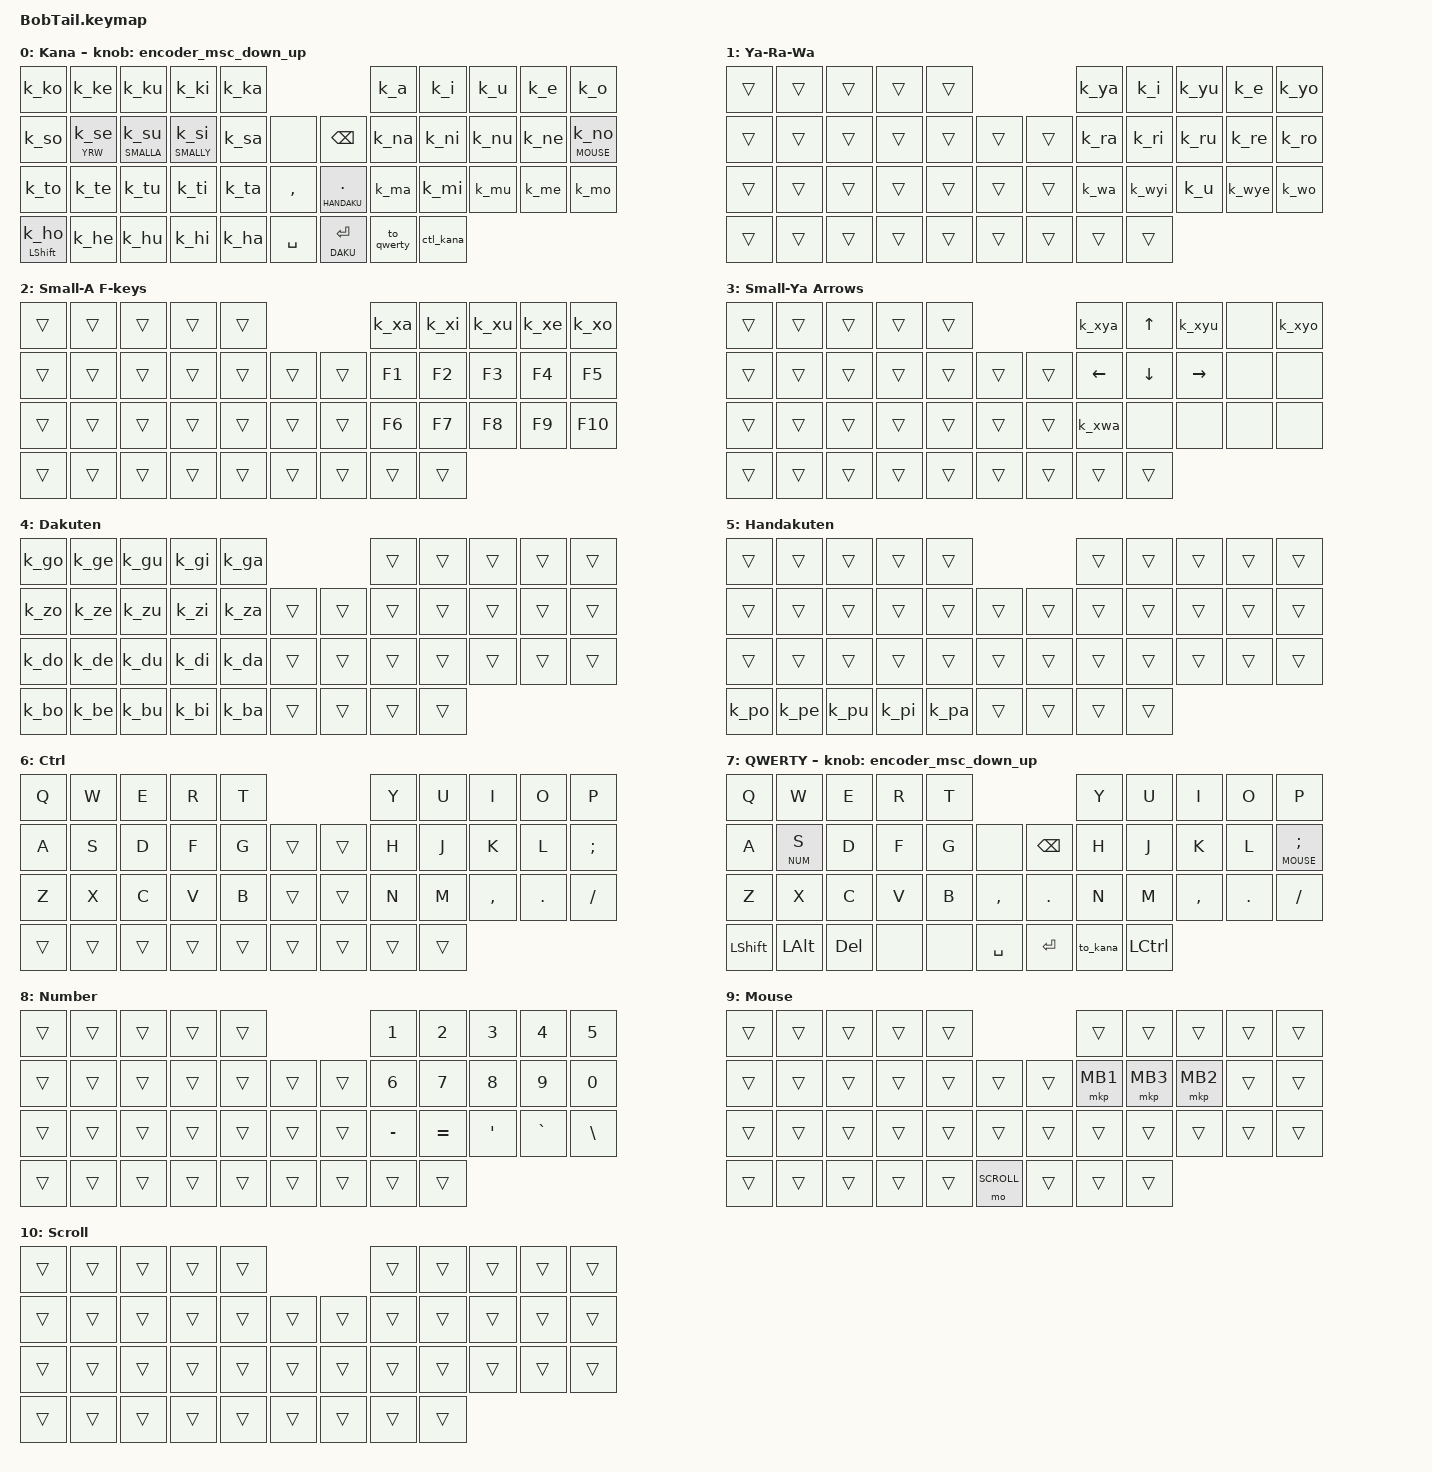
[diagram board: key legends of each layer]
/*
 * BobTail / BobTail ESC  五十音かな配列
 * 1層目: 左手に か・さ・た・は行、右手に あ・な・ま行(人差し指→小指外側)
 * かなキーは IME(ローマ字入力)にローマ字を送るマクロです。
 * 設計の経緯は claude.ai での相談(2026-11-02)によります。
 */

#include <behaviors.dtsi>
#include <dt-bindings/zmk/bt.h>
#include <dt-bindings/zmk/keys.h>
#include <dt-bindings/zmk/pointing.h>

#define KANA 0
#define YRW 1
#define SMALLA 2
#define SMALLY 3
#define DAKU 4
#define HANDAKU 5
#define KCTRL 6
#define QWERTY 7
#define NUM 8
#define MOUSE 9
#define SCROLL 10

#define LEFT_KEYS 0 1 2 3 4 10 11 12 13 14 15 22 23 24 25 26 27 34 35 36 37 38 39
#define RIGHT_KEYS 5 6 7 8 9 16 17 18 19 20 21 28 29 30 31 32 33 40 41 42

/ {
    behaviors {
        encoder_msc_down_up: encoder_msc_down_up {
            compatible = "zmk,behavior-sensor-rotate";
            #sensor-binding-cells = <0>;
            bindings = <&msc SCRL_UP>, <&msc SCRL_DOWN>;
            tap-ms = <20>;
        };

        /* 左手の長押しキー(せ・す・し): 押している間、右手が別の層になる */
        ht_se: ht_se {
            compatible = "zmk,behavior-hold-tap";
            #binding-cells = <2>;
            flavor = "balanced";
            tapping-term-ms = <200>;
            quick-tap-ms = <150>;
            require-prior-idle-ms = <150>;
            hold-trigger-key-positions = <RIGHT_KEYS>;
            hold-trigger-on-release;
            bindings = <&mo>, <&k_se>;
        };
        ht_su: ht_su {
            compatible = "zmk,behavior-hold-tap";
            #binding-cells = <2>;
            flavor = "balanced";
            tapping-term-ms = <200>;
            quick-tap-ms = <150>;
            require-prior-idle-ms = <150>;
            hold-trigger-key-positions = <RIGHT_KEYS>;
            hold-trigger-on-release;
            bindings = <&mo>, <&k_su>;
        };
        ht_si: ht_si {
            compatible = "zmk,behavior-hold-tap";
            #binding-cells = <2>;
            flavor = "balanced";
            tapping-term-ms = <200>;
            quick-tap-ms = <150>;
            require-prior-idle-ms = <150>;
            hold-trigger-key-positions = <RIGHT_KEYS>;
            hold-trigger-on-release;
            bindings = <&mo>, <&k_si>;
        };

        /* ほ: 長押しで Shift */
        ht_ho: ht_ho {
            compatible = "zmk,behavior-hold-tap";
            #binding-cells = <2>;
            flavor = "balanced";
            tapping-term-ms = <200>;
            quick-tap-ms = <150>;
            require-prior-idle-ms = <150>;
            hold-trigger-key-positions = <RIGHT_KEYS>;
            hold-trigger-on-release;
            bindings = <&kp>, <&k_ho>;
        };

        /* qwerty 層の S: 長押しで数字の層 */
        ht_lq: ht_lq {
            compatible = "zmk,behavior-hold-tap";
            #binding-cells = <2>;
            flavor = "balanced";
            tapping-term-ms = <200>;
            quick-tap-ms = <150>;
            require-prior-idle-ms = <150>;
            hold-trigger-key-positions = <RIGHT_KEYS>;
            hold-trigger-on-release;
            bindings = <&mo>, <&kp>;
        };

        /* 右小指外側の中段(の / ;): 長押ししている間マウス層。トラックボールのクリック・スクロール用 */
        ht_no: ht_no {
            compatible = "zmk,behavior-hold-tap";
            #binding-cells = <2>;
            flavor = "balanced";
            tapping-term-ms = <200>;
            quick-tap-ms = <150>;
            require-prior-idle-ms = <150>;
            bindings = <&mo>, <&k_no>;
        };
        ht_rq: ht_rq {
            compatible = "zmk,behavior-hold-tap";
            #binding-cells = <2>;
            flavor = "balanced";
            tapping-term-ms = <200>;
            quick-tap-ms = <150>;
            require-prior-idle-ms = <150>;
            bindings = <&mo>, <&kp>;
        };

        /* 右親指(Enter・。): 長押しで濁点・半濁点の層。左手のキーとの組み合わせでだけ長押しになる */
        ht_r: ht_r {
            compatible = "zmk,behavior-hold-tap";
            #binding-cells = <2>;
            flavor = "balanced";
            tapping-term-ms = <200>;
            quick-tap-ms = <150>;
            hold-trigger-key-positions = <LEFT_KEYS>;
            hold-trigger-on-release;
            bindings = <&mo>, <&kp>;
        };
    };

    macros {
        /* Ctrl を押している間、qwerty の位置で Ctrl+文字(て=X, つ=C, ち=V, た=B など) */
        ctl_kana: ctl_kana {
            compatible = "zmk,behavior-macro";
            #binding-cells = <0>;
            wait-ms = <0>;
            tap-ms = <0>;
            bindings
                = <&macro_press &mo KCTRL &kp LCTRL>
                , <&macro_pause_for_release>
                , <&macro_release &mo KCTRL &kp LCTRL>
                ;
        };

        /* かな層 → qwerty 層(IME オフ) */
        to_qwerty: to_qwerty {
            compatible = "zmk,behavior-macro";
            #binding-cells = <0>;
            wait-ms = <10>;
            tap-ms = <10>;
            bindings = <&kp LANG2 &to QWERTY>;
        };

        /* qwerty 層 → かな層(IME オン) */
        to_kana: to_kana {
            compatible = "zmk,behavior-macro";
            #binding-cells = <0>;
            wait-ms = <10>;
            tap-ms = <10>;
            bindings = <&kp LANG1 &to KANA>;
        };

        /* かな(ローマ字マクロ) */
        k_a: k_a {
            compatible = "zmk,behavior-macro";
            #binding-cells = <0>;
            wait-ms = <10>;
            tap-ms = <10>;
            bindings = <&kp A>;
        };
        k_i: k_i {
            compatible = "zmk,behavior-macro";
            #binding-cells = <0>;
            wait-ms = <10>;
            tap-ms = <10>;
            bindings = <&kp I>;
        };
        k_u: k_u {
            compatible = "zmk,behavior-macro";
            #binding-cells = <0>;
            wait-ms = <10>;
            tap-ms = <10>;
            bindings = <&kp U>;
        };
        k_e: k_e {
            compatible = "zmk,behavior-macro";
            #binding-cells = <0>;
            wait-ms = <10>;
            tap-ms = <10>;
            bindings = <&kp E>;
        };
        k_o: k_o {
            compatible = "zmk,behavior-macro";
            #binding-cells = <0>;
            wait-ms = <10>;
            tap-ms = <10>;
            bindings = <&kp O>;
        };
        k_ka: k_ka {
            compatible = "zmk,behavior-macro";
            #binding-cells = <0>;
            wait-ms = <10>;
            tap-ms = <10>;
            bindings = <&kp K &kp A>;
        };
        k_ki: k_ki {
            compatible = "zmk,behavior-macro";
            #binding-cells = <0>;
            wait-ms = <10>;
            tap-ms = <10>;
            bindings = <&kp K &kp I>;
        };
        k_ku: k_ku {
            compatible = "zmk,behavior-macro";
            #binding-cells = <0>;
            wait-ms = <10>;
            tap-ms = <10>;
            bindings = <&kp K &kp U>;
        };
        k_ke: k_ke {
            compatible = "zmk,behavior-macro";
            #binding-cells = <0>;
            wait-ms = <10>;
            tap-ms = <10>;
            bindings = <&kp K &kp E>;
        };
        k_ko: k_ko {
            compatible = "zmk,behavior-macro";
            #binding-cells = <0>;
            wait-ms = <10>;
            tap-ms = <10>;
            bindings = <&kp K &kp O>;
        };
        k_sa: k_sa {
            compatible = "zmk,behavior-macro";
            #binding-cells = <0>;
            wait-ms = <10>;
            tap-ms = <10>;
            bindings = <&kp S &kp A>;
        };
        k_si: k_si {
            compatible = "zmk,behavior-macro";
            #binding-cells = <0>;
            wait-ms = <10>;
            tap-ms = <10>;
            bindings = <&kp S &kp I>;
        };
        k_su: k_su {
            compatible = "zmk,behavior-macro";
            #binding-cells = <0>;
            wait-ms = <10>;
            tap-ms = <10>;
            bindings = <&kp S &kp U>;
        };
        k_se: k_se {
            compatible = "zmk,behavior-macro";
            #binding-cells = <0>;
            wait-ms = <10>;
            tap-ms = <10>;
            bindings = <&kp S &kp E>;
        };
        k_so: k_so {
            compatible = "zmk,behavior-macro";
            #binding-cells = <0>;
            wait-ms = <10>;
            tap-ms = <10>;
            bindings = <&kp S &kp O>;
        };
        k_ta: k_ta {
            compatible = "zmk,behavior-macro";
            #binding-cells = <0>;
            wait-ms = <10>;
            tap-ms = <10>;
            bindings = <&kp T &kp A>;
        };
        k_ti: k_ti {
            compatible = "zmk,behavior-macro";
            #binding-cells = <0>;
            wait-ms = <10>;
            tap-ms = <10>;
            bindings = <&kp T &kp I>;
        };
        k_tu: k_tu {
            compatible = "zmk,behavior-macro";
            #binding-cells = <0>;
            wait-ms = <10>;
            tap-ms = <10>;
            bindings = <&kp T &kp U>;
        };
        k_te: k_te {
            compatible = "zmk,behavior-macro";
            #binding-cells = <0>;
            wait-ms = <10>;
            tap-ms = <10>;
            bindings = <&kp T &kp E>;
        };
        k_to: k_to {
            compatible = "zmk,behavior-macro";
            #binding-cells = <0>;
            wait-ms = <10>;
            tap-ms = <10>;
            bindings = <&kp T &kp O>;
        };
        k_na: k_na {
            compatible = "zmk,behavior-macro";
            #binding-cells = <0>;
            wait-ms = <10>;
            tap-ms = <10>;
            bindings = <&kp N &kp A>;
        };
        k_ni: k_ni {
            compatible = "zmk,behavior-macro";
            #binding-cells = <0>;
            wait-ms = <10>;
            tap-ms = <10>;
            bindings = <&kp N &kp I>;
        };
        k_nu: k_nu {
            compatible = "zmk,behavior-macro";
            #binding-cells = <0>;
            wait-ms = <10>;
            tap-ms = <10>;
            bindings = <&kp N &kp U>;
        };
        k_ne: k_ne {
            compatible = "zmk,behavior-macro";
            #binding-cells = <0>;
            wait-ms = <10>;
            tap-ms = <10>;
            bindings = <&kp N &kp E>;
        };
        k_no: k_no {
            compatible = "zmk,behavior-macro";
            #binding-cells = <0>;
            wait-ms = <10>;
            tap-ms = <10>;
            bindings = <&kp N &kp O>;
        };
        k_ha: k_ha {
            compatible = "zmk,behavior-macro";
            #binding-cells = <0>;
            wait-ms = <10>;
            tap-ms = <10>;
            bindings = <&kp H &kp A>;
        };
        k_hi: k_hi {
            compatible = "zmk,behavior-macro";
            #binding-cells = <0>;
            wait-ms = <10>;
            tap-ms = <10>;
            bindings = <&kp H &kp I>;
        };
        k_hu: k_hu {
            compatible = "zmk,behavior-macro";
            #binding-cells = <0>;
            wait-ms = <10>;
            tap-ms = <10>;
            bindings = <&kp H &kp U>;
        };
        k_he: k_he {
            compatible = "zmk,behavior-macro";
            #binding-cells = <0>;
            wait-ms = <10>;
            tap-ms = <10>;
            bindings = <&kp H &kp E>;
        };
        k_ho: k_ho {
            compatible = "zmk,behavior-macro";
            #binding-cells = <0>;
            wait-ms = <10>;
            tap-ms = <10>;
            bindings = <&kp H &kp O>;
        };
        k_ma: k_ma {
            compatible = "zmk,behavior-macro";
            #binding-cells = <0>;
            wait-ms = <10>;
            tap-ms = <10>;
            bindings = <&kp M &kp A>;
        };
        k_mi: k_mi {
            compatible = "zmk,behavior-macro";
            #binding-cells = <0>;
            wait-ms = <10>;
            tap-ms = <10>;
            bindings = <&kp M &kp I>;
        };
        k_mu: k_mu {
            compatible = "zmk,behavior-macro";
            #binding-cells = <0>;
            wait-ms = <10>;
            tap-ms = <10>;
            bindings = <&kp M &kp U>;
        };
        k_me: k_me {
            compatible = "zmk,behavior-macro";
            #binding-cells = <0>;
            wait-ms = <10>;
            tap-ms = <10>;
            bindings = <&kp M &kp E>;
        };
        k_mo: k_mo {
            compatible = "zmk,behavior-macro";
            #binding-cells = <0>;
            wait-ms = <10>;
            tap-ms = <10>;
            bindings = <&kp M &kp O>;
        };
        k_ya: k_ya {
            compatible = "zmk,behavior-macro";
            #binding-cells = <0>;
            wait-ms = <10>;
            tap-ms = <10>;
            bindings = <&kp Y &kp A>;
        };
        k_yu: k_yu {
            compatible = "zmk,behavior-macro";
            #binding-cells = <0>;
            wait-ms = <10>;
            tap-ms = <10>;
            bindings = <&kp Y &kp U>;
        };
        k_yo: k_yo {
            compatible = "zmk,behavior-macro";
            #binding-cells = <0>;
            wait-ms = <10>;
            tap-ms = <10>;
            bindings = <&kp Y &kp O>;
        };
        k_ra: k_ra {
            compatible = "zmk,behavior-macro";
            #binding-cells = <0>;
            wait-ms = <10>;
            tap-ms = <10>;
            bindings = <&kp R &kp A>;
        };
        k_ri: k_ri {
            compatible = "zmk,behavior-macro";
            #binding-cells = <0>;
            wait-ms = <10>;
            tap-ms = <10>;
            bindings = <&kp R &kp I>;
        };
        k_ru: k_ru {
            compatible = "zmk,behavior-macro";
            #binding-cells = <0>;
            wait-ms = <10>;
            tap-ms = <10>;
            bindings = <&kp R &kp U>;
        };
        k_re: k_re {
            compatible = "zmk,behavior-macro";
            #binding-cells = <0>;
            wait-ms = <10>;
            tap-ms = <10>;
            bindings = <&kp R &kp E>;
        };
        k_ro: k_ro {
            compatible = "zmk,behavior-macro";
            #binding-cells = <0>;
            wait-ms = <10>;
            tap-ms = <10>;
            bindings = <&kp R &kp O>;
        };
        k_wa: k_wa {
            compatible = "zmk,behavior-macro";
            #binding-cells = <0>;
            wait-ms = <10>;
            tap-ms = <10>;
            bindings = <&kp W &kp A>;
        };
        k_wyi: k_wyi {
            compatible = "zmk,behavior-macro";
            #binding-cells = <0>;
            wait-ms = <10>;
            tap-ms = <10>;
            bindings = <&kp W &kp Y &kp I>;
        };
        k_wye: k_wye {
            compatible = "zmk,behavior-macro";
            #binding-cells = <0>;
            wait-ms = <10>;
            tap-ms = <10>;
            bindings = <&kp W &kp Y &kp E>;
        };
        k_wo: k_wo {
            compatible = "zmk,behavior-macro";
            #binding-cells = <0>;
            wait-ms = <10>;
            tap-ms = <10>;
            bindings = <&kp W &kp O>;
        };
        k_nn: k_nn {
            compatible = "zmk,behavior-macro";
            #binding-cells = <0>;
            wait-ms = <10>;
            tap-ms = <10>;
            bindings = <&kp N &kp N>;
        };
        k_xa: k_xa {
            compatible = "zmk,behavior-macro";
            #binding-cells = <0>;
            wait-ms = <10>;
            tap-ms = <10>;
            bindings = <&kp X &kp A>;
        };
        k_xi: k_xi {
            compatible = "zmk,behavior-macro";
            #binding-cells = <0>;
            wait-ms = <10>;
            tap-ms = <10>;
            bindings = <&kp X &kp I>;
        };
        k_xu: k_xu {
            compatible = "zmk,behavior-macro";
            #binding-cells = <0>;
            wait-ms = <10>;
            tap-ms = <10>;
            bindings = <&kp X &kp U>;
        };
        k_xe: k_xe {
            compatible = "zmk,behavior-macro";
            #binding-cells = <0>;
            wait-ms = <10>;
            tap-ms = <10>;
            bindings = <&kp X &kp E>;
        };
        k_xo: k_xo {
            compatible = "zmk,behavior-macro";
            #binding-cells = <0>;
            wait-ms = <10>;
            tap-ms = <10>;
            bindings = <&kp X &kp O>;
        };
        k_xtu: k_xtu {
            compatible = "zmk,behavior-macro";
            #binding-cells = <0>;
            wait-ms = <10>;
            tap-ms = <10>;
            bindings = <&kp X &kp T &kp U>;
        };
        k_xya: k_xya {
            compatible = "zmk,behavior-macro";
            #binding-cells = <0>;
            wait-ms = <10>;
            tap-ms = <10>;
            bindings = <&kp X &kp Y &kp A>;
        };
        k_xyu: k_xyu {
            compatible = "zmk,behavior-macro";
            #binding-cells = <0>;
            wait-ms = <10>;
            tap-ms = <10>;
            bindings = <&kp X &kp Y &kp U>;
        };
        k_xyo: k_xyo {
            compatible = "zmk,behavior-macro";
            #binding-cells = <0>;
            wait-ms = <10>;
            tap-ms = <10>;
            bindings = <&kp X &kp Y &kp O>;
        };
        k_xwa: k_xwa {
            compatible = "zmk,behavior-macro";
            #binding-cells = <0>;
            wait-ms = <10>;
            tap-ms = <10>;
            bindings = <&kp X &kp W &kp A>;
        };
        k_ga: k_ga {
            compatible = "zmk,behavior-macro";
            #binding-cells = <0>;
            wait-ms = <10>;
            tap-ms = <10>;
            bindings = <&kp G &kp A>;
        };
        k_gi: k_gi {
            compatible = "zmk,behavior-macro";
            #binding-cells = <0>;
            wait-ms = <10>;
            tap-ms = <10>;
            bindings = <&kp G &kp I>;
        };
        k_gu: k_gu {
            compatible = "zmk,behavior-macro";
            #binding-cells = <0>;
            wait-ms = <10>;
            tap-ms = <10>;
            bindings = <&kp G &kp U>;
        };
        k_ge: k_ge {
            compatible = "zmk,behavior-macro";
            #binding-cells = <0>;
            wait-ms = <10>;
            tap-ms = <10>;
            bindings = <&kp G &kp E>;
        };
        k_go: k_go {
            compatible = "zmk,behavior-macro";
            #binding-cells = <0>;
            wait-ms = <10>;
            tap-ms = <10>;
            bindings = <&kp G &kp O>;
        };
        k_za: k_za {
            compatible = "zmk,behavior-macro";
            #binding-cells = <0>;
            wait-ms = <10>;
            tap-ms = <10>;
            bindings = <&kp Z &kp A>;
        };
        k_zi: k_zi {
            compatible = "zmk,behavior-macro";
            #binding-cells = <0>;
            wait-ms = <10>;
            tap-ms = <10>;
            bindings = <&kp Z &kp I>;
        };
        k_zu: k_zu {
            compatible = "zmk,behavior-macro";
            #binding-cells = <0>;
            wait-ms = <10>;
            tap-ms = <10>;
            bindings = <&kp Z &kp U>;
        };
        k_ze: k_ze {
            compatible = "zmk,behavior-macro";
            #binding-cells = <0>;
            wait-ms = <10>;
            tap-ms = <10>;
            bindings = <&kp Z &kp E>;
        };
        k_zo: k_zo {
            compatible = "zmk,behavior-macro";
            #binding-cells = <0>;
            wait-ms = <10>;
            tap-ms = <10>;
            bindings = <&kp Z &kp O>;
        };
        k_da: k_da {
            compatible = "zmk,behavior-macro";
            #binding-cells = <0>;
            wait-ms = <10>;
            tap-ms = <10>;
            bindings = <&kp D &kp A>;
        };
        k_di: k_di {
            compatible = "zmk,behavior-macro";
            #binding-cells = <0>;
            wait-ms = <10>;
            tap-ms = <10>;
            bindings = <&kp D &kp I>;
        };
        k_du: k_du {
            compatible = "zmk,behavior-macro";
            #binding-cells = <0>;
            wait-ms = <10>;
            tap-ms = <10>;
            bindings = <&kp D &kp U>;
        };
        k_de: k_de {
            compatible = "zmk,behavior-macro";
            #binding-cells = <0>;
            wait-ms = <10>;
            tap-ms = <10>;
            bindings = <&kp D &kp E>;
        };
        k_do: k_do {
            compatible = "zmk,behavior-macro";
            #binding-cells = <0>;
            wait-ms = <10>;
            tap-ms = <10>;
            bindings = <&kp D &kp O>;
        };
        k_ba: k_ba {
            compatible = "zmk,behavior-macro";
            #binding-cells = <0>;
            wait-ms = <10>;
            tap-ms = <10>;
            bindings = <&kp B &kp A>;
        };
        k_bi: k_bi {
            compatible = "zmk,behavior-macro";
            #binding-cells = <0>;
            wait-ms = <10>;
            tap-ms = <10>;
            bindings = <&kp B &kp I>;
        };
        k_bu: k_bu {
            compatible = "zmk,behavior-macro";
            #binding-cells = <0>;
            wait-ms = <10>;
            tap-ms = <10>;
            bindings = <&kp B &kp U>;
        };
        k_be: k_be {
            compatible = "zmk,behavior-macro";
            #binding-cells = <0>;
            wait-ms = <10>;
            tap-ms = <10>;
            bindings = <&kp B &kp E>;
        };
        k_bo: k_bo {
            compatible = "zmk,behavior-macro";
            #binding-cells = <0>;
            wait-ms = <10>;
            tap-ms = <10>;
            bindings = <&kp B &kp O>;
        };
        k_pa: k_pa {
            compatible = "zmk,behavior-macro";
            #binding-cells = <0>;
            wait-ms = <10>;
            tap-ms = <10>;
            bindings = <&kp P &kp A>;
        };
        k_pi: k_pi {
            compatible = "zmk,behavior-macro";
            #binding-cells = <0>;
            wait-ms = <10>;
            tap-ms = <10>;
            bindings = <&kp P &kp I>;
        };
        k_pu: k_pu {
            compatible = "zmk,behavior-macro";
            #binding-cells = <0>;
            wait-ms = <10>;
            tap-ms = <10>;
            bindings = <&kp P &kp U>;
        };
        k_pe: k_pe {
            compatible = "zmk,behavior-macro";
            #binding-cells = <0>;
            wait-ms = <10>;
            tap-ms = <10>;
            bindings = <&kp P &kp E>;
        };
        k_po: k_po {
            compatible = "zmk,behavior-macro";
            #binding-cells = <0>;
            wait-ms = <10>;
            tap-ms = <10>;
            bindings = <&kp P &kp O>;
        };
    };

    combos {
        compatible = "zmk,combos";

        /* 右手2段目の横の同時押し */
        c_nn {
            bindings = <&k_nn>;
            key-positions = <17 18>;   /* な+に = ん */
            layers = <KANA>;
            timeout-ms = <35>;
            require-prior-idle-ms = <100>;
        };
        c_xtu {
            bindings = <&k_xtu>;
            key-positions = <18 19>;   /* に+ぬ = っ */
            layers = <KANA>;
            timeout-ms = <35>;
            require-prior-idle-ms = <100>;
        };
        c_choon {
            bindings = <&kp MINUS>;
            key-positions = <19 20>;   /* ぬ+ね = ー */
            layers = <KANA>;
            timeout-ms = <35>;
            require-prior-idle-ms = <100>;
        };

        /* 右手中指の列の縦の同時押し */
        c_kakko_l {
            bindings = <&kp LBKT>;
            key-positions = <6 18>;    /* い+に = 「 */
            layers = <KANA>;
            timeout-ms = <50>;
        };
        c_kakko_r {
            bindings = <&kp RBKT>;
            key-positions = <18 30>;   /* に+み = 」 */
            layers = <KANA>;
            timeout-ms = <50>;
        };

        /* 左親指 、+Space = Tab */
        c_tab {
            bindings = <&kp TAB>;
            key-positions = <27 39>;
            layers = <KANA QWERTY>;
            timeout-ms = <50>;
        };
    };

    keymap {
        compatible = "zmk,keymap";

        kana_layer {
            display-name = "Kana";
            bindings = <
&k_ko             &k_ke             &k_ku             &k_ki             &k_ka                                                 &k_a              &k_i              &k_u              &k_e              &k_o
&k_so             &ht_se YRW 0      &ht_su SMALLA 0   &ht_si SMALLY 0   &k_sa             &none               &kp BSPC          &k_na             &k_ni             &k_nu             &k_ne             &ht_no MOUSE 0
&k_to             &k_te             &k_tu             &k_ti             &k_ta             &kp COMMA           &ht_r HANDAKU DOT  &k_ma             &k_mi             &k_mu             &k_me             &k_mo
&ht_ho LSHIFT 0   &k_he             &k_hu             &k_hi             &k_ha             &kp SPACE           &ht_r DAKU ENTER  &to_qwerty        &ctl_kana
            >;

            sensor-bindings = <&encoder_msc_down_up>;
        };

        yrw_layer {
            display-name = "Ya-Ra-Wa";
            bindings = <
&trans            &trans            &trans            &trans            &trans                                                &k_ya             &k_i              &k_yu             &k_e              &k_yo
&trans            &trans            &trans            &trans            &trans            &trans              &trans            &k_ra             &k_ri             &k_ru             &k_re             &k_ro
&trans            &trans            &trans            &trans            &trans            &trans              &trans            &k_wa             &k_wyi            &k_u              &k_wye            &k_wo
&trans            &trans            &trans            &trans            &trans            &trans              &trans            &trans            &trans
            >;
        };

        smalla_layer {
            display-name = "Small-A F-keys";
            bindings = <
&trans            &trans            &trans            &trans            &trans                                                &k_xa             &k_xi             &k_xu             &k_xe             &k_xo
&trans            &trans            &trans            &trans            &trans            &trans              &trans            &kp F1            &kp F2            &kp F3            &kp F4            &kp F5
&trans            &trans            &trans            &trans            &trans            &trans              &trans            &kp F6            &kp F7            &kp F8            &kp F9            &kp F10
&trans            &trans            &trans            &trans            &trans            &trans              &trans            &trans            &trans
            >;
        };

        smally_layer {
            display-name = "Small-Ya Arrows";
            bindings = <
&trans            &trans            &trans            &trans            &trans                                                &k_xya            &kp UP            &k_xyu            &none             &k_xyo
&trans            &trans            &trans            &trans            &trans            &trans              &trans            &kp LEFT          &kp DOWN          &kp RIGHT         &none             &none
&trans            &trans            &trans            &trans            &trans            &trans              &trans            &k_xwa            &none             &none             &none             &none
&trans            &trans            &trans            &trans            &trans            &trans              &trans            &trans            &trans
            >;
        };

        daku_layer {
            display-name = "Dakuten";
            bindings = <
&k_go             &k_ge             &k_gu             &k_gi             &k_ga                                                 &trans            &trans            &trans            &trans            &trans
&k_zo             &k_ze             &k_zu             &k_zi             &k_za             &trans              &trans            &trans            &trans            &trans            &trans            &trans
&k_do             &k_de             &k_du             &k_di             &k_da             &trans              &trans            &trans            &trans            &trans            &trans            &trans
&k_bo             &k_be             &k_bu             &k_bi             &k_ba             &trans              &trans            &trans            &trans
            >;
        };

        handaku_layer {
            display-name = "Handakuten";
            bindings = <
&trans            &trans            &trans            &trans            &trans                                                &trans            &trans            &trans            &trans            &trans
&trans            &trans            &trans            &trans            &trans            &trans              &trans            &trans            &trans            &trans            &trans            &trans
&trans            &trans            &trans            &trans            &trans            &trans              &trans            &trans            &trans            &trans            &trans            &trans
&k_po             &k_pe             &k_pu             &k_pi             &k_pa             &trans              &trans            &trans            &trans
            >;
        };

        kctrl_layer {
            display-name = "Ctrl";
            bindings = <
&kp Q             &kp W             &kp E             &kp R             &kp T                                                 &kp Y             &kp U             &kp I             &kp O             &kp P
&kp A             &kp S             &kp D             &kp F             &kp G             &trans              &trans            &kp H             &kp J             &kp K             &kp L             &kp SEMI
&kp Z             &kp X             &kp C             &kp V             &kp B             &trans              &trans            &kp N             &kp M             &kp COMMA         &kp DOT           &kp SLASH
&trans            &trans            &trans            &trans            &trans            &trans              &trans            &trans            &trans
            >;
        };

        qwerty_layer {
            display-name = "QWERTY";
            bindings = <
&kp Q             &kp W             &kp E             &kp R             &kp T                                                 &kp Y             &kp U             &kp I             &kp O             &kp P
&kp A             &ht_lq NUM S      &kp D             &kp F             &kp G             &none               &kp BSPC          &kp H             &kp J             &kp K             &kp L             &ht_rq MOUSE SEMI
&kp Z             &kp X             &kp C             &kp V             &kp B             &kp COMMA           &kp DOT           &kp N             &kp M             &kp COMMA         &kp DOT           &kp SLASH
&kp LSHIFT        &kp LALT          &kp DEL           &none             &none             &kp SPACE           &kp ENTER         &to_kana          &kp LCTRL
            >;

            sensor-bindings = <&encoder_msc_down_up>;
        };

        num_layer {
            display-name = "Number";
            bindings = <
&trans            &trans            &trans            &trans            &trans                                                &kp N1            &kp N2            &kp N3            &kp N4            &kp N5
&trans            &trans            &trans            &trans            &trans            &trans              &trans            &kp N6            &kp N7            &kp N8            &kp N9            &kp N0
&trans            &trans            &trans            &trans            &trans            &trans              &trans            &kp MINUS         &kp EQUAL         &kp SQT           &kp GRAVE         &kp BSLH
&trans            &trans            &trans            &trans            &trans            &trans              &trans            &trans            &trans
            >;
        };

        mouse_layer {
            display-name = "Mouse";
            bindings = <
&trans            &trans            &trans            &trans            &trans                                                &trans            &trans            &trans            &trans            &trans
&trans            &trans            &trans            &trans            &trans            &trans              &trans            &mkp MB1          &mkp MB3          &mkp MB2          &trans            &trans
&trans            &trans            &trans            &trans            &trans            &trans              &trans            &trans            &trans            &trans            &trans            &trans
&trans            &trans            &trans            &trans            &trans            &mo SCROLL          &trans            &trans            &trans
            >;
        };

        scroll_layer {
            display-name = "Scroll";
            bindings = <
&trans            &trans            &trans            &trans            &trans                                                &trans            &trans            &trans            &trans            &trans
&trans            &trans            &trans            &trans            &trans            &trans              &trans            &trans            &trans            &trans            &trans            &trans
&trans            &trans            &trans            &trans            &trans            &trans              &trans            &trans            &trans            &trans            &trans            &trans
&trans            &trans            &trans            &trans            &trans            &trans              &trans            &trans            &trans
            >;
        };
    };
};
